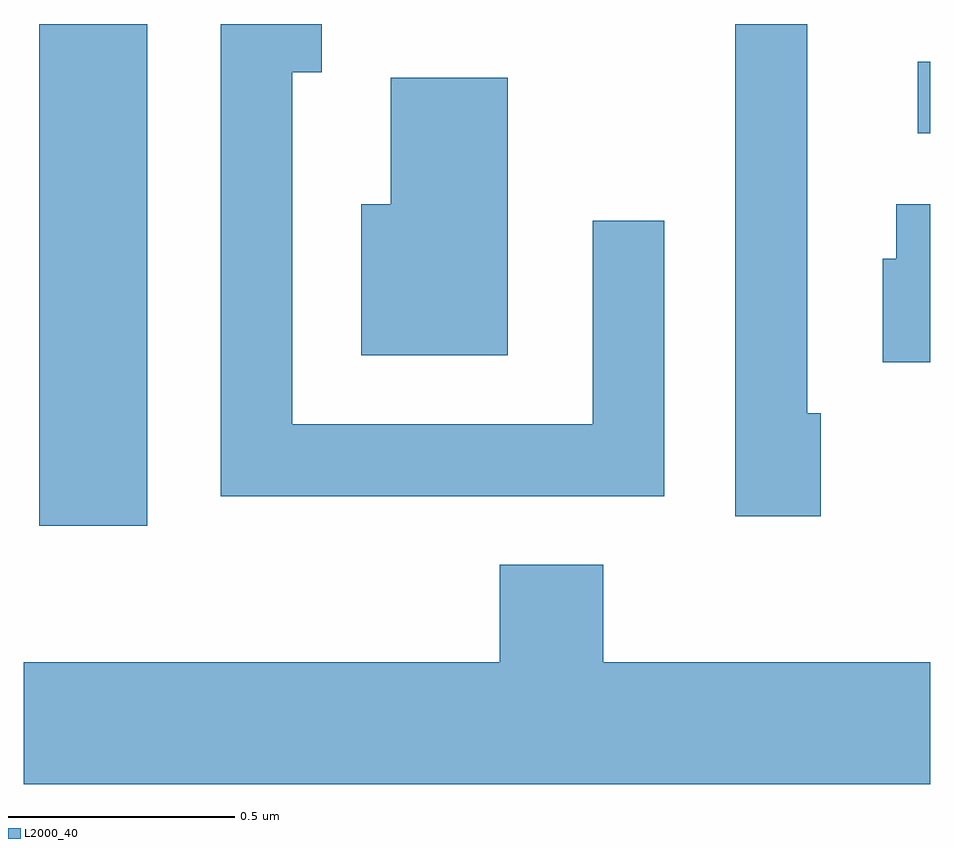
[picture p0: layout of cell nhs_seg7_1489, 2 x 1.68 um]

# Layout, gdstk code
import gdstk
lib = gdstk.Library(unit=1e-6, precision=1e-09)
def R(c, l, rs):  # rectangles x0, y0, x1, y1
    for r in rs: c.add(gdstk.rectangle(r[:2], r[2:], *l))
def P(c, l, *ps):  # polygons
    for p in ps: c.add(gdstk.Polygon(p, *l))
L2000_40 = (2000, 40)

nhs_seg7_1489 = lib.new_cell('nhs_seg7_1489')
R(nhs_seg7_1489, L2000_40, [(195.646,1788.146,195.884,1789.252), (197.583,1789.011,197.611,1789.169)])
P(nhs_seg7_1489, L2000_40, [(197.369,1788.394),(197.339,1788.394),(197.339,1789.252),(197.181,1789.252),(197.181,1788.166),(197.369,1788.166)],
  [(197.024,1788.818),(196.866,1788.818),(196.866,1788.369),(196.204,1788.369),(196.204,1789.146),(196.269,1789.146),(196.269,1789.252),(196.046,1789.252),(196.046,1788.211),(197.024,1788.211)],
  [(196.679,1789.134),(196.421,1789.134),(196.421,1788.854),(196.356,1788.854),(196.356,1788.521),(196.679,1788.521)],
  [(197.611,1788.854),(197.536,1788.854),(197.536,1788.734),(197.506,1788.734),(197.506,1788.506),(197.611,1788.506)],
  [(197.611,1787.844),(196.889,1787.844),(196.889,1788.059),(196.661,1788.059),(196.661,1787.844),(195.611,1787.844),(195.611,1787.576),(197.611,1787.576)])

lib.write_gds('nhs_seg7_1489.gds')
